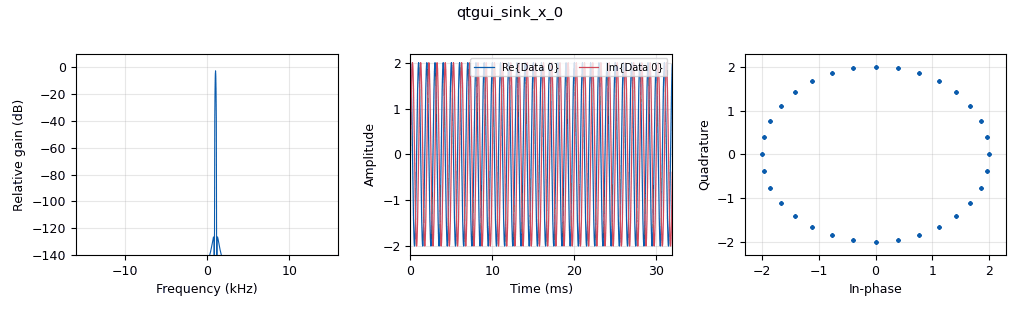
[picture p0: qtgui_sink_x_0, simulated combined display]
options:
  parameters:
    generate_options: qt_gui
    id: lesson2
    output_language: python
    title: Not titled yet
  states: {}

blocks:
- name: gen_freq
  id: variable_qtgui_range
  parameters:
    start: '0'
    step: '1'
    stop: 64e3
    value: 1e3
  states: {}
- name: gen_freq_0
  id: variable_qtgui_range
  parameters:
    start: '0'
    step: '1'
    stop: 64e3
    value: 1e3
  states: {}
- name: samp_rate
  id: variable
  parameters:
    value: '32000'
  states: {}
- name: analog_sig_source_x_0
  id: analog_sig_source_x
  parameters:
    amp: '1'
    freq: gen_freq
    offset: '0'
    phase: '0'
    samp_rate: samp_rate
    type: complex
    waveform: analog.GR_COS_WAVE
  states: {}
- name: analog_sig_source_x_0_0
  id: analog_sig_source_x
  parameters:
    amp: '1'
    freq: gen_freq_0
    offset: '0'
    phase: '0'
    samp_rate: samp_rate
    type: complex
    waveform: analog.GR_COS_WAVE
  states: {}
- name: blocks_add_xx_0
  id: blocks_add_xx
  parameters:
    type: complex
  states: {}
- name: blocks_throttle_0
  id: blocks_throttle
  parameters:
    samples_per_second: samp_rate
    type: complex
  states: {}
- name: qtgui_sink_x_0
  id: qtgui_sink_x
  parameters:
    bw: samp_rate
    fc: '0'
    fftsize: '1024'
    type: complex
  states: {}

connections:
- [analog_sig_source_x_0, '0', blocks_add_xx_0, '0']
- [analog_sig_source_x_0_0, '0', blocks_add_xx_0, '1']
- [blocks_add_xx_0, '0', blocks_throttle_0, '0']
- [blocks_throttle_0, '0', qtgui_sink_x_0, '0']

metadata:
  file_format: 1
